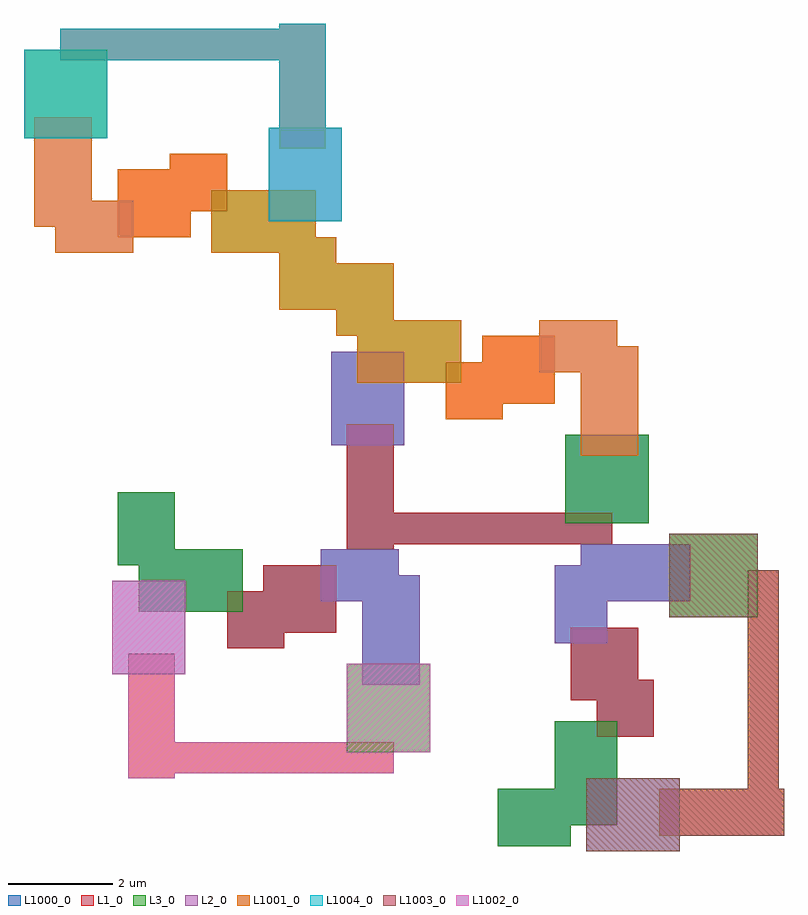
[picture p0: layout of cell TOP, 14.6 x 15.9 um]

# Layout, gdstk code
from math import pi, radians
import gdstk
lib = gdstk.Library(unit=1e-6, precision=1e-09)
def R(c, l, rs):  # rectangles x0, y0, x1, y1
    for r in rs: c.add(gdstk.rectangle(r[:2], r[2:], *l))
L1_0 = (1, 0)
L2_0 = (2, 0)
L3_0 = (3, 0)
L1000_0 = (1000, 0)
L1001_0 = (1001, 0)
L1002_0 = (1002, 0)
L1003_0 = (1003, 0)
L1004_0 = (1004, 0)

c_c1 = lib.new_cell('C1')
R(c_c1, L1_0, [(-2.7,-3.3,-1.8,-0.9), (-2.1,-3.2,2.4,-2.6), (-0.8,-0.8,0.3,0.3), (-0.1,-0.5,1.3,0.8)])
R(c_c1, L2_0, [(1.8,-1.5,2.9,0.6), (-3,-1.3,-1.6,0.5), (1,0.1,2.5,1.1)])
R(c_c1, L3_0, [(1.5,-2.8,3.1,-1.1), (-2.5,-0.1,-0.5,1.1), (-2.9,0.8,-1.8,2.2)])

top = lib.new_cell('TOP')
R(top, L1000_0, [(-0.1,-8.7,1.3,-7.6), (1,-8.3,2.2,-6.3), (1.8,-6.6,2.9,-5.5), (1.3,-5.9,2.6,-4.5), (-2.7,-5.6,-1.6,-3.5), (-5.3,-4.9,-4.2,-3.8), (1,-4.8,2,-3.3), (-4.6,-4.6,-3.2,-3.3), (-7,-4.2,-5,-3), (-3.5,-4,-2,-3), (1.5,-4,3.6,-2.9), (-7.4,-3.3,-6.3,-1.9), (-3,-3,-2.1,-0.6), (-2.4,-2.9,2.1,-2.3), (1.2,-2.5,2.8,-0.8), (-3.3,-1,-1.9,0.8)])
R(top, L1001_0, [(1.5,-1.2,2.6,0.9), (-1.1,-0.5,0,0.6), (-0.4,-0.2,1,1.1), (-2.8,0.2,-0.8,1.4), (0.7,0.4,2.2,1.4), (-3.2,1.1,-2.1,2.5), (-4.3,1.6,-3.2,3), (-8.6,2.7,-7.1,3.7), (-5.6,2.7,-3.6,3.9), (-7.4,3,-6,4.3), (-9,3.2,-7.9,5.3), (-6.4,3.5,-5.3,4.6)])
R(top, L1002_0, [(-7.2,-7.4,-6.3,-5), (-6.6,-7.3,-2.1,-6.7), (-3,-6.9,-1.4,-5.2), (-7.5,-5.4,-6.1,-3.6)])
R(top, L1003_0, [(1.6,-8.8,3.4,-7.4), (3,-8.5,5.4,-7.6), (4.7,-7.9,5.3,-3.4), (3.2,-4.3,4.9,-2.7)])
R(top, L1004_0, [(-4.5,3.3,-3.1,5.1), (-4.3,4.7,-3.4,7.1), (-9.2,4.9,-7.6,6.6), (-8.5,6.4,-4,7)])
top.add(gdstk.Reference(c_c1, (-0.3,0.3)))
top.add(gdstk.Reference(c_c1, (-6.1,3.8), rotation=pi))
top.add(gdstk.Reference(c_c1, (2.1,-5.8), rotation=pi/2))
top.add(gdstk.Reference(c_c1, (-4.5,-4.1)))

lib.write_gds('TOP.gds')
